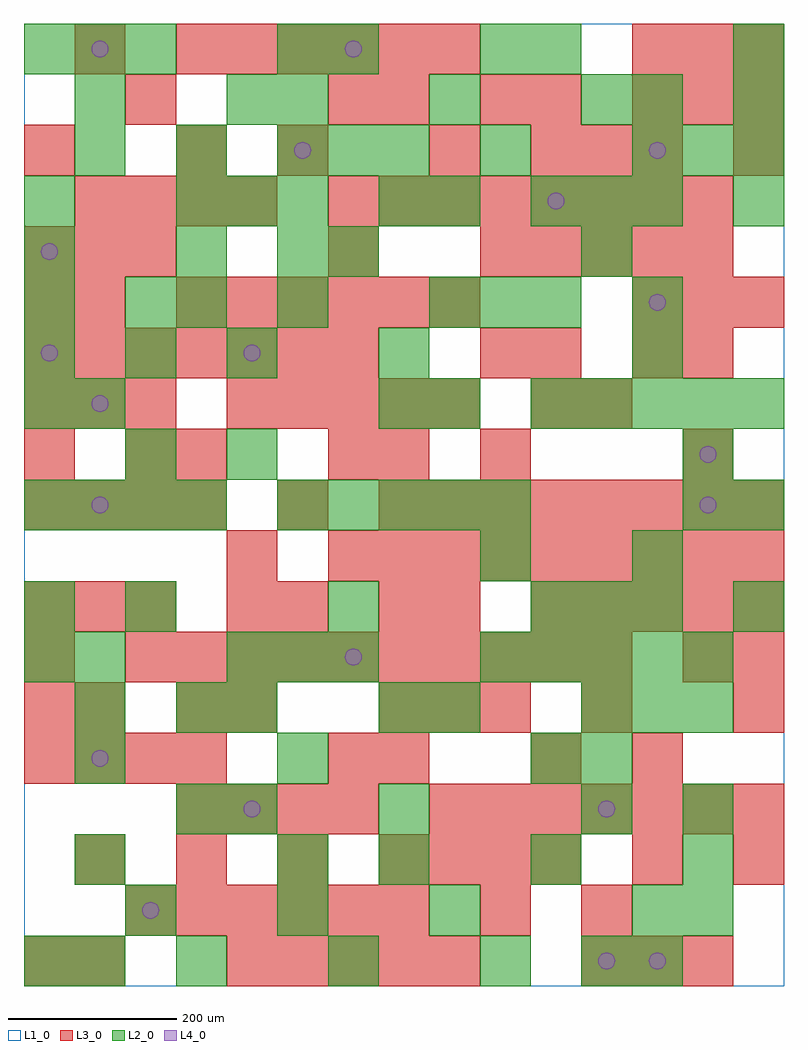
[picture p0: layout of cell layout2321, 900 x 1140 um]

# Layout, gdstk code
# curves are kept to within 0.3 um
import gdstk
lib = gdstk.Library(unit=1e-6, precision=1e-09)
def R(c, l, rs):  # rectangles x0, y0, x1, y1
    for r in rs: c.add(gdstk.rectangle(r[:2], r[2:], *l))
def A(c, l, x, y, w, h, nx, ny, dx, dy):  # array of equal rectangles
    R(c, l, [(x+i*dx, y+j*dy, x+i*dx+w, y+j*dy+h) for i in range(nx) for j in range(ny)])
def P(c, l, *ps):  # polygons
    for p in ps: c.add(gdstk.Polygon(p, *l))
L1_0 = (1, 0)
L2_0 = (2, 0)
L3_0 = (3, 0)
L4_0 = (4, 0)

layout2321 = lib.new_cell('layout2321')
R(layout2321, L1_0, [(0,0,900,1140)])
A(layout2321, L2_0, 60, 0, 60, 60, 1, 3, 0, 120)
A(layout2321, L2_0, 180, 0, 60, 60, 3, 1, 180, 0)
A(layout2321, L2_0, 120, 60, 60, 60, 3, 1, 180, 0)
A(layout2321, L2_0, 420, 120, 60, 60, 3, 1, 180, 0)
A(layout2321, L2_0, 660, 300, 60, 60, 3, 1, 60, 0)
A(layout2321, L2_0, 240, 360, 60, 60, 3, 1, 60, 0)
A(layout2321, L2_0, 540, 360, 60, 60, 5, 1, 60, 0)
A(layout2321, L2_0, 120, 420, 60, 60, 3, 1, 240, 0)
A(layout2321, L2_0, 0, 540, 60, 60, 4, 1, 60, 0)
A(layout2321, L2_0, 300, 540, 60, 60, 5, 1, 60, 0)
A(layout2321, L2_0, 600, 660, 60, 60, 5, 1, 60, 0)
A(layout2321, L2_0, 0, 720, 60, 60, 3, 1, 120, 0)
A(layout2321, L2_0, 0, 780, 60, 60, 1, 3, 0, 60)
A(layout2321, L2_0, 480, 780, 60, 60, 3, 1, 60, 0)
A(layout2321, L2_0, 360, 840, 60, 60, 1, 3, 0, 120)
A(layout2321, L2_0, 180, 900, 60, 60, 3, 1, 60, 0)
A(layout2321, L2_0, 600, 900, 60, 60, 3, 1, 60, 0)
A(layout2321, L2_0, 60, 960, 60, 60, 3, 1, 120, 0)
A(layout2321, L2_0, 720, 960, 60, 60, 3, 1, 60, 0)
A(layout2321, L2_0, 300, 1020, 60, 60, 3, 1, 180, 0)
A(layout2321, L2_0, 0, 1080, 60, 60, 3, 1, 60, 0)
R(layout2321, L2_0, [(0,0,60,60), (660,0,720,60), (720,0,780,60), (720,60,780,120), (780,60,840,120), (300,120,360,180), (180,180,240,240), (240,180,300,240), (420,180,480,240), (660,180,720,240), (780,180,840,240), (300,240,360,300), (600,240,660,300), (660,240,720,300), (60,300,120,360), (180,300,240,360), (240,300,300,360), (420,300,480,360), (480,300,540,360), (0,360,60,420), (60,360,120,420), (0,420,60,480), (660,420,720,480), (720,420,780,480), (840,420,900,480), (540,480,600,540), (720,480,780,540), (780,540,840,600), (840,540,900,600), (120,600,180,660), (240,600,300,660), (780,600,840,660), (0,660,60,720), (60,660,120,720), (420,660,480,720), (480,660,540,720), (420,720,480,780), (720,720,780,780), (120,780,180,840), (180,780,240,840), (300,780,360,840), (720,780,780,840), (180,840,240,900), (300,840,360,900), (660,840,720,900), (420,900,480,960), (480,900,540,960), (840,900,900,960), (420,960,480,1020), (540,960,600,1020), (60,1020,120,1080), (240,1020,300,1080), (720,1020,780,1080), (840,1020,900,1080), (300,1080,360,1140), (540,1080,600,1140), (600,1080,660,1140), (840,1080,900,1140)])
A(layout2321, L3_0, 240, 0, 60, 60, 5, 2, 60, 660)
A(layout2321, L3_0, 660, 0, 60, 60, 3, 1, 60, 0)
A(layout2321, L3_0, 120, 60, 60, 60, 6, 1, 60, 0)
A(layout2321, L3_0, 60, 120, 60, 60, 4, 1, 120, 0)
A(layout2321, L3_0, 480, 120, 60, 60, 3, 1, 60, 0)
A(layout2321, L3_0, 180, 180, 60, 60, 4, 1, 60, 0)
A(layout2321, L3_0, 480, 180, 60, 60, 7, 1, 60, 0)
A(layout2321, L3_0, 0, 240, 60, 60, 4, 2, 60, 300)
A(layout2321, L3_0, 420, 240, 60, 60, 1, 3, 0, 180)
A(layout2321, L3_0, 420, 300, 60, 60, 3, 1, 60, 0)
A(layout2321, L3_0, 120, 360, 60, 60, 10, 1, 60, 0)
A(layout2321, L3_0, 0, 420, 60, 60, 3, 2, 60, 240)
A(layout2321, L3_0, 600, 420, 60, 60, 5, 1, 60, 0)
A(layout2321, L3_0, 360, 480, 60, 60, 9, 1, 60, 0)
A(layout2321, L3_0, 420, 540, 60, 60, 8, 1, 60, 0)
A(layout2321, L3_0, 0, 600, 60, 60, 1, 3, 0, 180)
A(layout2321, L3_0, 0, 720, 60, 60, 7, 1, 60, 0)
A(layout2321, L3_0, 180, 780, 60, 60, 6, 2, 60, 300)
A(layout2321, L3_0, 720, 780, 60, 60, 3, 2, 60, 240)
A(layout2321, L3_0, 0, 840, 60, 60, 3, 1, 60, 0)
A(layout2321, L3_0, 540, 840, 60, 60, 5, 1, 60, 0)
A(layout2321, L3_0, 60, 900, 60, 60, 4, 1, 60, 0)
A(layout2321, L3_0, 360, 900, 60, 60, 8, 1, 60, 0)
A(layout2321, L3_0, 600, 960, 60, 60, 3, 1, 60, 0)
A(layout2321, L3_0, 720, 1080, 60, 60, 3, 1, 60, 0)
R(layout2321, L3_0, [(0,0,60,60), (60,0,120,60), (540,60,600,120), (660,60,720,120), (720,120,780,180), (840,120,900,180), (360,240,420,300), (600,240,660,300), (720,240,780,300), (0,300,60,360), (60,300,120,360), (180,300,240,360), (240,300,300,360), (660,300,720,360), (840,300,900,360), (0,360,60,420), (780,360,840,420), (840,360,900,420), (240,420,300,480), (300,420,360,480), (480,420,540,480), (240,480,300,540), (300,540,360,600), (120,600,180,660), (180,600,240,660), (360,600,420,660), (540,600,600,660), (780,600,840,660), (600,660,660,720), (660,660,720,720), (540,720,600,780), (600,720,660,780), (720,720,780,780), (780,720,840,780), (60,780,120,840), (360,840,420,900), (180,960,240,1020), (300,960,360,1020), (480,960,540,1020), (840,960,900,1020), (120,1020,180,1080), (360,1020,420,1080), (420,1020,480,1080), (540,1020,600,1080), (600,1020,660,1080), (60,1080,120,1140)])
P(layout2321, L4_0, [(40,750),(39.239,753.827),(37.071,757.071),(33.827,759.239),(30,760),(26.173,759.239),(22.929,757.071),(20.761,753.827),(20,750),(20.761,746.173),(22.929,742.929),(26.173,740.761),(30,740),(33.827,740.761),(37.071,742.929),(39.239,746.173)],
  [(40,870),(39.239,873.827),(37.071,877.071),(33.827,879.239),(30,880),(26.173,879.239),(22.929,877.071),(20.761,873.827),(20,870),(20.761,866.173),(22.929,862.929),(26.173,860.761),(30,860),(33.827,860.761),(37.071,862.929),(39.239,866.173)],
  [(100,270),(99.239,273.827),(97.071,277.071),(93.827,279.239),(90,280),(86.173,279.239),(82.929,277.071),(80.761,273.827),(80,270),(80.761,266.173),(82.929,262.929),(86.173,260.761),(90,260),(93.827,260.761),(97.071,262.929),(99.239,266.173)],
  [(100,570),(99.239,573.827),(97.071,577.071),(93.827,579.239),(90,580),(86.173,579.239),(82.929,577.071),(80.761,573.827),(80,570),(80.761,566.173),(82.929,562.929),(86.173,560.761),(90,560),(93.827,560.761),(97.071,562.929),(99.239,566.173)],
  [(100,690),(99.239,693.827),(97.071,697.071),(93.827,699.239),(90,700),(86.173,699.239),(82.929,697.071),(80.761,693.827),(80,690),(80.761,686.173),(82.929,682.929),(86.173,680.761),(90,680),(93.827,680.761),(97.071,682.929),(99.239,686.173)],
  [(100,1110),(99.239,1113.827),(97.071,1117.071),(93.827,1119.239),(90,1120),(86.173,1119.239),(82.929,1117.071),(80.761,1113.827),(80,1110),(80.761,1106.173),(82.929,1102.929),(86.173,1100.761),(90,1100),(93.827,1100.761),(97.071,1102.929),(99.239,1106.173)],
  [(160,90),(159.239,93.827),(157.071,97.071),(153.827,99.239),(150,100),(146.173,99.239),(142.929,97.071),(140.761,93.827),(140,90),(140.761,86.173),(142.929,82.929),(146.173,80.761),(150,80),(153.827,80.761),(157.071,82.929),(159.239,86.173)],
  [(280,210),(279.239,213.827),(277.071,217.071),(273.827,219.239),(270,220),(266.173,219.239),(262.929,217.071),(260.761,213.827),(260,210),(260.761,206.173),(262.929,202.929),(266.173,200.761),(270,200),(273.827,200.761),(277.071,202.929),(279.239,206.173)],
  [(280,750),(279.239,753.827),(277.071,757.071),(273.827,759.239),(270,760),(266.173,759.239),(262.929,757.071),(260.761,753.827),(260,750),(260.761,746.173),(262.929,742.929),(266.173,740.761),(270,740),(273.827,740.761),(277.071,742.929),(279.239,746.173)],
  [(340,990),(339.239,993.827),(337.071,997.071),(333.827,999.239),(330,1000),(326.173,999.239),(322.929,997.071),(320.761,993.827),(320,990),(320.761,986.173),(322.929,982.929),(326.173,980.761),(330,980),(333.827,980.761),(337.071,982.929),(339.239,986.173)],
  [(400,390),(399.239,393.827),(397.071,397.071),(393.827,399.239),(390,400),(386.173,399.239),(382.929,397.071),(380.761,393.827),(380,390),(380.761,386.173),(382.929,382.929),(386.173,380.761),(390,380),(393.827,380.761),(397.071,382.929),(399.239,386.173)],
  [(400,1110),(399.239,1113.827),(397.071,1117.071),(393.827,1119.239),(390,1120),(386.173,1119.239),(382.929,1117.071),(380.761,1113.827),(380,1110),(380.761,1106.173),(382.929,1102.929),(386.173,1100.761),(390,1100),(393.827,1100.761),(397.071,1102.929),(399.239,1106.173)],
  [(640,930),(639.239,933.827),(637.071,937.071),(633.827,939.239),(630,940),(626.173,939.239),(622.929,937.071),(620.761,933.827),(620,930),(620.761,926.173),(622.929,922.929),(626.173,920.761),(630,920),(633.827,920.761),(637.071,922.929),(639.239,926.173)],
  [(700,30),(699.239,33.827),(697.071,37.071),(693.827,39.239),(690,40),(686.173,39.239),(682.929,37.071),(680.761,33.827),(680,30),(680.761,26.173),(682.929,22.929),(686.173,20.761),(690,20),(693.827,20.761),(697.071,22.929),(699.239,26.173)],
  [(700,210),(699.239,213.827),(697.071,217.071),(693.827,219.239),(690,220),(686.173,219.239),(682.929,217.071),(680.761,213.827),(680,210),(680.761,206.173),(682.929,202.929),(686.173,200.761),(690,200),(693.827,200.761),(697.071,202.929),(699.239,206.173)],
  [(760,30),(759.239,33.827),(757.071,37.071),(753.827,39.239),(750,40),(746.173,39.239),(742.929,37.071),(740.761,33.827),(740,30),(740.761,26.173),(742.929,22.929),(746.173,20.761),(750,20),(753.827,20.761),(757.071,22.929),(759.239,26.173)],
  [(760,810),(759.239,813.827),(757.071,817.071),(753.827,819.239),(750,820),(746.173,819.239),(742.929,817.071),(740.761,813.827),(740,810),(740.761,806.173),(742.929,802.929),(746.173,800.761),(750,800),(753.827,800.761),(757.071,802.929),(759.239,806.173)],
  [(760,990),(759.239,993.827),(757.071,997.071),(753.827,999.239),(750,1000),(746.173,999.239),(742.929,997.071),(740.761,993.827),(740,990),(740.761,986.173),(742.929,982.929),(746.173,980.761),(750,980),(753.827,980.761),(757.071,982.929),(759.239,986.173)],
  [(820,570),(819.239,573.827),(817.071,577.071),(813.827,579.239),(810,580),(806.173,579.239),(802.929,577.071),(800.761,573.827),(800,570),(800.761,566.173),(802.929,562.929),(806.173,560.761),(810,560),(813.827,560.761),(817.071,562.929),(819.239,566.173)],
  [(820,630),(819.239,633.827),(817.071,637.071),(813.827,639.239),(810,640),(806.173,639.239),(802.929,637.071),(800.761,633.827),(800,630),(800.761,626.173),(802.929,622.929),(806.173,620.761),(810,620),(813.827,620.761),(817.071,622.929),(819.239,626.173)])

lib.write_gds('layout2321.gds')
